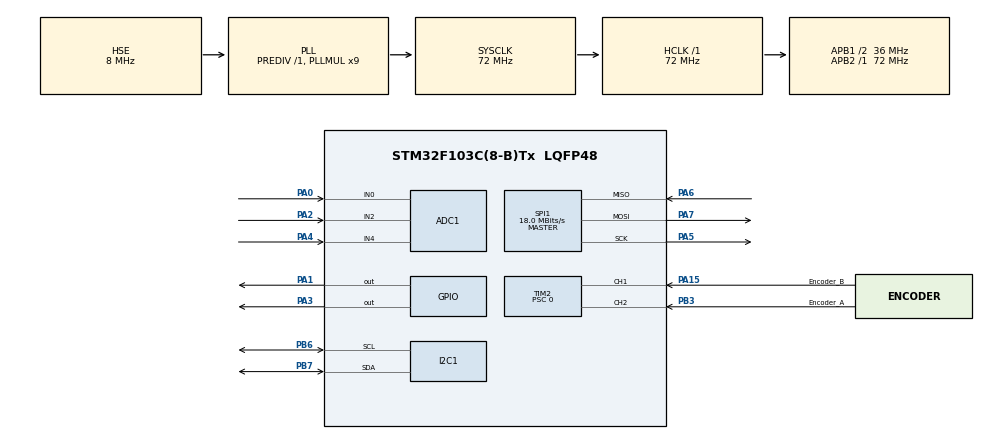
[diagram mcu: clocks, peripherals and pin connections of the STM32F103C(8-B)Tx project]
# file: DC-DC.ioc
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ADC1.Channel-0\#ChannelRegularConversion=ADC_CHANNEL_0
ADC1.Channel-1\#ChannelRegularConversion=ADC_CHANNEL_2
ADC1.Channel-2\#ChannelRegularConversion=ADC_CHANNEL_4
ADC1.ContinuousConvMode=ENABLE
ADC1.DiscontinuousConvMode=DISABLE
ADC1.ExternalTrigConv=ADC_EXTERNALTRIGCONV_T3_TRGO
ADC1.NbrOfConversion=3
ADC1.NbrOfConversionFlag=1
ADC1.Rank-0\#ChannelRegularConversion=1
ADC1.Rank-1\#ChannelRegularConversion=2
ADC1.Rank-2\#ChannelRegularConversion=3
ADC1.SamplingTime-0\#ChannelRegularConversion=ADC_SAMPLETIME_71CYCLES_5
ADC1.SamplingTime-1\#ChannelRegularConversion=ADC_SAMPLETIME_71CYCLES_5
ADC1.SamplingTime-2\#ChannelRegularConversion=ADC_SAMPLETIME_71CYCLES_5
ADC1.master=1
Dma.ADC1.0.Direction=DMA_PERIPH_TO_MEMORY
Dma.ADC1.0.Instance=DMA1_Channel1
Dma.ADC1.0.MemDataAlignment=DMA_MDATAALIGN_HALFWORD
Dma.ADC1.0.MemInc=DMA_MINC_ENABLE
Dma.ADC1.0.Mode=DMA_NORMAL
Dma.ADC1.0.PeriphDataAlignment=DMA_PDATAALIGN_HALFWORD
Dma.ADC1.0.PeriphInc=DMA_PINC_DISABLE
Dma.ADC1.0.Priority=DMA_PRIORITY_HIGH
Dma.I2C1_TX.1.Direction=DMA_MEMORY_TO_PERIPH
Dma.I2C1_TX.1.Instance=DMA1_Channel6
Dma.I2C1_TX.1.MemDataAlignment=DMA_MDATAALIGN_BYTE
Dma.I2C1_TX.1.MemInc=DMA_MINC_ENABLE
Dma.I2C1_TX.1.Mode=DMA_NORMAL
Dma.I2C1_TX.1.PeriphDataAlignment=DMA_PDATAALIGN_BYTE
Dma.I2C1_TX.1.PeriphInc=DMA_PINC_DISABLE
Dma.I2C1_TX.1.Priority=DMA_PRIORITY_LOW
Dma.Request0=ADC1
Dma.Request1=I2C1_TX
FREERTOS.Tasks01=defaultTask,0,128,StartDefaultTask,Default,NULL,Dynamic,NULL,NULL
I2C1.DutyCycle=I2C_DUTYCYCLE_16_9
I2C1.I2C_Mode=I2C_Fast
Mcu.Family=STM32F1
Mcu.Name=STM32F103C(8-B)Tx
Mcu.Package=LQFP48
NVIC.ADC1_2_IRQn=true\:5\:0\:false\:false\:true\:true\:true\:true\:true
NVIC.DMA1_Channel1_IRQn=true\:5\:0\:false\:false\:true\:true\:false\:true\:true
NVIC.DMA1_Channel6_IRQn=true\:5\:0\:false\:false\:true\:true\:false\:true\:true
NVIC.I2C1_ER_IRQn=true\:5\:0\:false\:false\:true\:true\:true\:true\:true
NVIC.I2C1_EV_IRQn=true\:5\:0\:false\:false\:true\:true\:true\:true\:true
NVIC.PriorityGroup=NVIC_PRIORITYGROUP_4
NVIC.SPI1_IRQn=true\:5\:0\:false\:false\:true\:true\:true\:true\:true
NVIC.TIM1_UP_IRQn=true\:15\:0\:false\:false\:true\:false\:false\:true\:true
NVIC.TimeBase=TIM1_UP_IRQn
NVIC.TimeBaseIP=TIM1
PA0-WKUP.Signal=ADCx_IN0
PA1.Signal=GPIO_Output
PA13.Mode=Serial_Wire
PA13.Signal=SYS_JTMS-SWDIO
PA14.Mode=Serial_Wire
PA14.Signal=SYS_JTCK-SWCLK
PA15.GPIO_Label=Encoder_B
PA15.Signal=S_TIM2_CH1_ETR
PA2.Signal=ADCx_IN2
PA3.Signal=GPIO_Output
PA4.Signal=ADCx_IN4
PA5.Mode=Full_Duplex_Master
PA5.Signal=SPI1_SCK
PA6.Mode=Full_Duplex_Master
PA6.Signal=SPI1_MISO
PA7.Mode=Full_Duplex_Master
PA7.Signal=SPI1_MOSI
PB3.GPIO_Label=Encoder_A
PB3.Signal=S_TIM2_CH2
PB6.Mode=I2C
PB6.Signal=I2C1_SCL
PB7.Mode=I2C
PB7.Signal=I2C1_SDA
PD0-OSC_IN.Mode=HSE-External-Oscillator
PD0-OSC_IN.Signal=RCC_OSC_IN
PD1-OSC_OUT.Mode=HSE-External-Oscillator
PD1-OSC_OUT.Signal=RCC_OSC_OUT
ProjectManager.HeapSize=0x200
ProjectManager.StackSize=0x400
ProjectManager.TargetToolchain=MDK-ARM V5
RCC.ADCPresc=RCC_ADCPCLK2_DIV6
RCC.AHBFreq_Value=72000000
RCC.APB1CLKDivider=RCC_HCLK_DIV2
RCC.APB1Freq_Value=36000000
RCC.APB1TimFreq_Value=72000000
RCC.APB2Freq_Value=72000000
RCC.APB2TimFreq_Value=72000000
RCC.HCLKFreq_Value=72000000
RCC.PLLMUL=RCC_PLL_MUL9
RCC.PLLSourceVirtual=RCC_PLLSOURCE_HSE
RCC.SYSCLKFreq_VALUE=72000000
RCC.SYSCLKSource=RCC_SYSCLKSOURCE_PLLCLK
RCC.USBFreq_Value=72000000
SH.ADCx_IN0.0=ADC1_IN0,IN0
SH.ADCx_IN2.0=ADC1_IN2,IN2
SH.ADCx_IN4.0=ADC1_IN4,IN4
SH.S_TIM2_CH1_ETR.0=TIM2_CH1,Encoder_Interface
SH.S_TIM2_CH2.0=TIM2_CH2,Encoder_Interface
SPI1.BaudRatePrescaler=SPI_BAUDRATEPRESCALER_4
SPI1.CalculateBaudRate=18.0 MBits/s
SPI1.Direction=SPI_DIRECTION_2LINES
SPI1.Mode=SPI_MODE_MASTER
SPI1.VirtualType=VM_MASTER
TIM2.Period=65535
TIM2.Prescaler=0
TIM3.AutoReloadPreload=TIM_AUTORELOAD_PRELOAD_DISABLE
TIM3.Period=1000 - 1
TIM3.Prescaler=72 - 1
TIM3.TIM_MasterOutputTrigger=TIM_TRGO_UPDATE
VP_FREERTOS_VS_CMSIS_V1.Mode=CMSIS_V1
VP_SYS_VS_tim1.Mode=TIM1
VP_TIM3_VS_ClockSourceINT.Mode=Internal
board=custom

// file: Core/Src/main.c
/* USER CODE BEGIN Header */
/**
  ******************************************************************************
  * @file           : main.c
  * @brief          : Main program body
  ******************************************************************************
  * @attention
  *
  * Copyright (c) 2024 STMicroelectronics.
  * All rights reserved.
  *
  * This software is licensed under terms that can be found in the LICENSE file
  * in the root directory of this software component.
  * If no LICENSE file comes with this software, it is provided AS-IS.
  *
  ******************************************************************************
  */
/* USER CODE END Header */
#include "main.h"
#include "cmsis_os.h"
#include "adc.h"
#include "dma.h"
#include "i2c.h"
#include "spi.h"
#include "tim.h"
#include "gpio.h"

/* USER CODE BEGIN Includes */
#include "mytask.h"
/* USER CODE END Includes */

/* USER CODE BEGIN PV */
uint16_t ADC1_Valve[40];
/* USER CODE END PV */

void SystemClock_Config(void);
void MX_FREERTOS_Init(void);

int main(void)
{

  /* MCU Configuration--------------------------------------------------------*/

  /* Reset of all peripherals, Initializes the Flash interface and the Systick. */
  HAL_Init();

  /* Configure the system clock */
  SystemClock_Config();

  /* Initialize all configured peripherals */
  MX_GPIO_Init();
  MX_DMA_Init();
  MX_ADC1_Init();
  MX_I2C1_Init();
  MX_TIM3_Init();
  MX_TIM2_Init();
  MX_SPI1_Init();
  /* USER CODE BEGIN 2 */
	__HAL_I2C_ENABLE(&hi2c1);
	__HAL_SPI_ENABLE(&hspi1);
	HAL_ADCEx_Calibration_Start(&hadc1);
	HAL_TIM_Base_Start_IT(&htim3);
  HAL_ADC_Start_DMA(&hadc1,(uint32_t *)ADC1_Valve,sizeof ADC1_Valve);
	ADC_filtersInit();
	HAL_TIM_Encoder_Start(&htim2,TIM_CHANNEL_ALL);
	OLED_Init();
	OLED_Clear();
	screen_Init();
	OLED_flush(50);
  /* USER CODE END 2 */

  /* Call init function for freertos objects (in cmsis_os2.c) */
  MX_FREERTOS_Init();

  /* Start scheduler */
  osKernelStart();

  /* We should never get here as control is now taken by the scheduler */

  /* Infinite loop */
  while (1)
  {

  }
}

void SystemClock_Config(void)
{
  RCC_OscInitTypeDef RCC_OscInitStruct = {0};
  RCC_ClkInitTypeDef RCC_ClkInitStruct = {0};
  RCC_PeriphCLKInitTypeDef PeriphClkInit = {0};

  /** Initializes the RCC Oscillators according to the specified parameters
  * in the RCC_OscInitTypeDef structure.
  */
  RCC_OscInitStruct.OscillatorType = RCC_OSCILLATORTYPE_HSE;
  RCC_OscInitStruct.HSEState = RCC_HSE_ON;
  RCC_OscInitStruct.HSEPredivValue = RCC_HSE_PREDIV_DIV1;
  RCC_OscInitStruct.HSIState = RCC_HSI_ON;
  RCC_OscInitStruct.PLL.PLLState = RCC_PLL_ON;
  RCC_OscInitStruct.PLL.PLLSource = RCC_PLLSOURCE_HSE;
  RCC_OscInitStruct.PLL.PLLMUL = RCC_PLL_MUL9;
  if (HAL_RCC_OscConfig(&RCC_OscInitStruct) != HAL_OK)
  {
    Error_Handler();
  }

  /** Initializes the CPU, AHB and APB buses clocks
  */
  RCC_ClkInitStruct.ClockType = RCC_CLOCKTYPE_HCLK|RCC_CLOCKTYPE_SYSCLK
                              |RCC_CLOCKTYPE_PCLK1|RCC_CLOCKTYPE_PCLK2;
  RCC_ClkInitStruct.SYSCLKSource = RCC_SYSCLKSOURCE_PLLCLK;
  RCC_ClkInitStruct.AHBCLKDivider = RCC_SYSCLK_DIV1;
  RCC_ClkInitStruct.APB1CLKDivider = RCC_HCLK_DIV2;
  RCC_ClkInitStruct.APB2CLKDivider = RCC_HCLK_DIV1;

  if (HAL_RCC_ClockConfig(&RCC_ClkInitStruct, FLASH_LATENCY_2) != HAL_OK)
  {
    Error_Handler();
  }
  PeriphClkInit.PeriphClockSelection = RCC_PERIPHCLK_ADC;
  PeriphClkInit.AdcClockSelection = RCC_ADCPCLK2_DIV6;
  if (HAL_RCCEx_PeriphCLKConfig(&PeriphClkInit) != HAL_OK)
  {
    Error_Handler();
  }
}

void HAL_TIM_PeriodElapsedCallback(TIM_HandleTypeDef *htim)
{
  if (htim->Instance == TIM1) {
    HAL_IncTick();
  }
}

void Error_Handler(void)
{
  __disable_irq();
  while (1)
  {
  }
}

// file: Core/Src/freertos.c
/* USER CODE BEGIN Header */
/**
  ******************************************************************************
  * File Name          : freertos.c
  * Description        : Code for freertos applications
  ******************************************************************************
  * @attention
  *
  * Copyright (c) 2024 STMicroelectronics.
  * All rights reserved.
  *
  * This software is licensed under terms that can be found in the LICENSE file
  * in the root directory of this software component.
  * If no LICENSE file comes with this software, it is provided AS-IS.
  *
  ******************************************************************************
  */
/* USER CODE END Header */

#include "FreeRTOS.h"
#include "task.h"
#include "main.h"
#include "cmsis_os.h"

/* USER CODE BEGIN Includes */
#include "mytask.h"
/* USER CODE END Includes */

osThreadId defaultTaskHandle;

void StartDefaultTask(void const * argument);

void MX_FREERTOS_Init(void); /* (MISRA C 2004 rule 8.1) */

/* GetIdleTaskMemory prototype (linked to static allocation support) */
void vApplicationGetIdleTaskMemory( StaticTask_t **ppxIdleTaskTCBBuffer, StackType_t **ppxIdleTaskStackBuffer, uint32_t *pulIdleTaskStackSize );

/* USER CODE BEGIN GET_IDLE_TASK_MEMORY */
static StaticTask_t xIdleTaskTCBBuffer;
static StackType_t xIdleStack[configMINIMAL_STACK_SIZE];

void vApplicationGetIdleTaskMemory( StaticTask_t **ppxIdleTaskTCBBuffer, StackType_t **ppxIdleTaskStackBuffer, uint32_t *pulIdleTaskStackSize )
{
  *ppxIdleTaskTCBBuffer = &xIdleTaskTCBBuffer;
  *ppxIdleTaskStackBuffer = &xIdleStack[0];
  *pulIdleTaskStackSize = configMINIMAL_STACK_SIZE;
  /* place for user code */
}
/* USER CODE END GET_IDLE_TASK_MEMORY */

void MX_FREERTOS_Init(void) {

  /* Create the thread(s) */
  /* definition and creation of defaultTask */
  osThreadDef(defaultTask, StartDefaultTask, osPriorityNormal, 0, 128);
  defaultTaskHandle = osThreadCreate(osThread(defaultTask), NULL);

}

void StartDefaultTask(void const * argument)
{
  /* USER CODE BEGIN StartDefaultTask */
  /* Infinite loop */
  for(;;)
  {
		Task_Init();

		vTaskDelete(NULL);
    osDelay(1);
  }
  /* USER CODE END StartDefaultTask */
}
